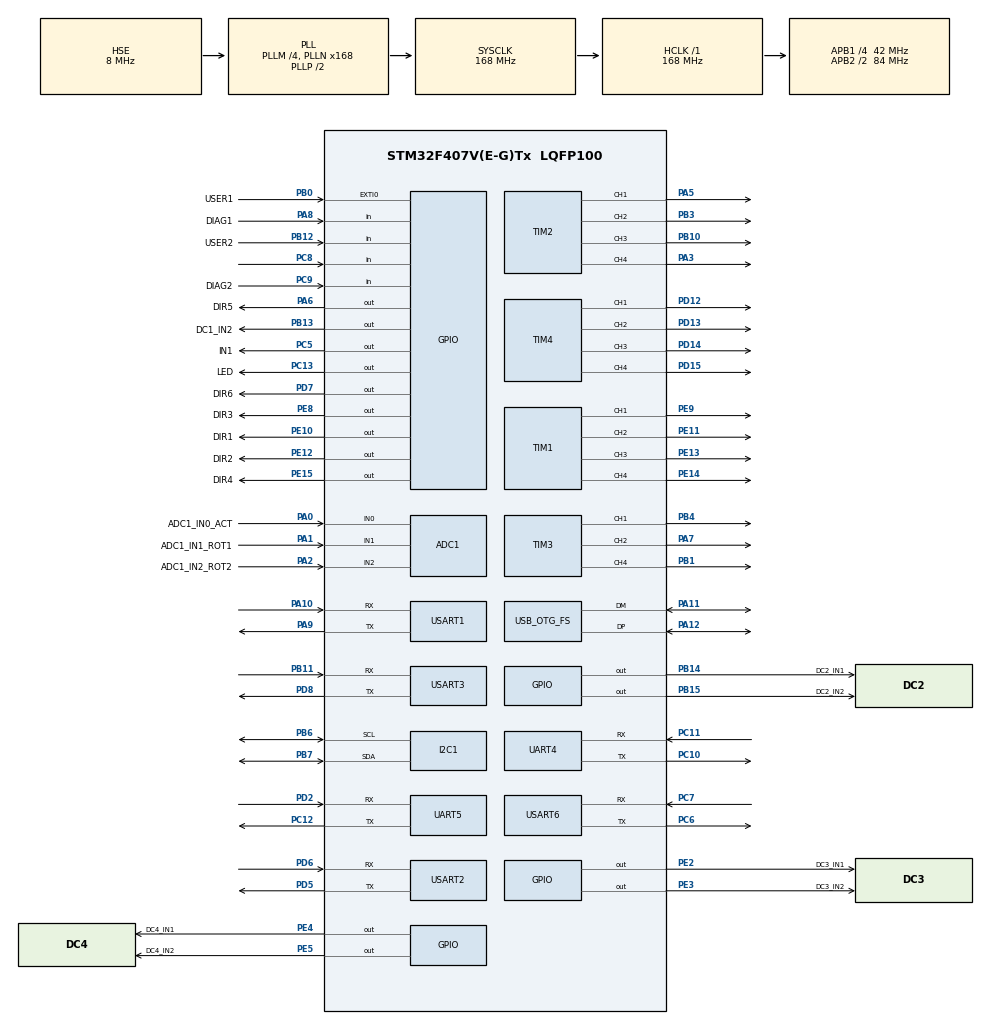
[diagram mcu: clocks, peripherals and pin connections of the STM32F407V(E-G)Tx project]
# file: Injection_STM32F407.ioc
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ADC1.Channel-0\#ChannelRegularConversion=ADC_CHANNEL_0
ADC1.NbrOfConversionFlag=1
ADC1.Rank-0\#ChannelRegularConversion=1
ADC1.SamplingTime-0\#ChannelRegularConversion=ADC_SAMPLETIME_3CYCLES
ADC1.master=1
Mcu.Family=STM32F4
Mcu.Name=STM32F407V(E-G)Tx
Mcu.Package=LQFP100
NVIC.EXTI0_IRQn=true\:0\:0\:false\:false\:true\:true\:true\:true
NVIC.PriorityGroup=NVIC_PRIORITYGROUP_4
NVIC.UART4_IRQn=true\:0\:0\:false\:false\:true\:true\:true\:true
NVIC.UART5_IRQn=true\:0\:0\:false\:false\:true\:true\:true\:true
NVIC.USART1_IRQn=true\:0\:0\:false\:false\:true\:true\:true\:true
NVIC.USART2_IRQn=true\:0\:0\:false\:false\:true\:true\:true\:true
NVIC.USART3_IRQn=true\:0\:0\:false\:false\:true\:true\:true\:true
NVIC.USART6_IRQn=true\:0\:0\:false\:false\:true\:true\:true\:true
PA0-WKUP.GPIO_Label=ADC1_IN0_ACT
PA0-WKUP.Signal=ADCx_IN0
PA1.GPIO_Label=ADC1_IN1_ROT1
PA1.Signal=ADCx_IN1
PA10.Mode=Asynchronous
PA10.Signal=USART1_RX
PA11.Mode=Device_Only
PA11.Signal=USB_OTG_FS_DM
PA12.Mode=Device_Only
PA12.Signal=USB_OTG_FS_DP
PA13.Mode=Serial_Wire
PA13.Signal=SYS_JTMS-SWDIO
PA14.Mode=Serial_Wire
PA14.Signal=SYS_JTCK-SWCLK
PA2.GPIO_Label=ADC1_IN2_ROT2
PA2.Signal=ADCx_IN2
PA3.Signal=S_TIM2_CH4
PA5.Signal=S_TIM2_CH1_ETR
PA6.GPIO_Label=DIR5
PA6.Signal=GPIO_Output
PA7.Signal=S_TIM3_CH2
PA8.GPIO_Label=DIAG1
PA8.Signal=GPIO_Input
PA9.Mode=Asynchronous
PA9.Signal=USART1_TX
PB0.GPIO_Label=USER1
PB0.GPIO_ModeDefaultEXTI=GPIO_MODE_IT_FALLING
PB0.GPIO_PuPd=GPIO_PULLUP
PB0.Signal=GPXTI0
PB1.Signal=S_TIM3_CH4
PB10.Signal=S_TIM2_CH3
PB11.Mode=Asynchronous
PB11.Signal=USART3_RX
PB12.GPIO_Label=USER2
PB12.GPIO_PuPd=GPIO_PULLUP
PB12.Signal=GPIO_Input
PB13.GPIO_Label=DC1_IN2
PB13.Signal=GPIO_Output
PB14.GPIO_Label=DC2_IN1
PB14.Signal=GPIO_Output
PB15.GPIO_Label=DC2_IN2
PB15.Signal=GPIO_Output
PB3.Signal=S_TIM2_CH2
PB4.Signal=S_TIM3_CH1
PB6.Mode=I2C
PB6.Signal=I2C1_SCL
PB7.Mode=I2C
PB7.Signal=I2C1_SDA
PC10.Mode=Asynchronous
PC10.Signal=UART4_TX
PC11.Mode=Asynchronous
PC11.Signal=UART4_RX
PC12.Mode=Asynchronous
PC12.Signal=UART5_TX
PC13-ANTI_TAMP.GPIO_Label=LED
PC13-ANTI_TAMP.Signal=GPIO_Output
PC5.GPIO_Label=IN1
PC5.Signal=GPIO_Output
PC6.Mode=Asynchronous
PC6.Signal=USART6_TX
PC7.Mode=Asynchronous
PC7.Signal=USART6_RX
PC8.Signal=GPIO_Input
PC9.GPIO_Label=DIAG2
PC9.Signal=GPIO_Input
PD12.Signal=S_TIM4_CH1
PD13.Signal=S_TIM4_CH2
PD14.Signal=S_TIM4_CH3
PD15.Signal=S_TIM4_CH4
PD2.Mode=Asynchronous
PD2.Signal=UART5_RX
PD5.Mode=Asynchronous
PD5.Signal=USART2_TX
PD6.Mode=Asynchronous
PD6.Signal=USART2_RX
PD7.GPIO_Label=DIR6
PD7.Signal=GPIO_Output
PD8.Mode=Asynchronous
PD8.Signal=USART3_TX
PE10.GPIO_Label=DIR1
PE10.Signal=GPIO_Output
PE11.Signal=S_TIM1_CH2
PE12.GPIO_Label=DIR2
PE12.Signal=GPIO_Output
PE13.Signal=S_TIM1_CH3
PE14.Signal=S_TIM1_CH4
PE15.GPIO_Label=DIR4
PE15.Signal=GPIO_Output
PE2.GPIO_Label=DC3_IN1
PE2.Signal=GPIO_Output
PE3.GPIO_Label=DC3_IN2
PE3.Signal=GPIO_Output
PE4.GPIO_Label=DC4_IN1
PE4.Signal=GPIO_Output
PE5.GPIO_Label=DC4_IN2
PE5.Signal=GPIO_Output
PE8.GPIO_Label=DIR3
PE8.Signal=GPIO_Output
PE9.Signal=S_TIM1_CH1
PH0-OSC_IN.Mode=HSE-External-Oscillator
PH0-OSC_IN.Signal=RCC_OSC_IN
PH1-OSC_OUT.Mode=HSE-External-Oscillator
PH1-OSC_OUT.Signal=RCC_OSC_OUT
ProjectManager.HeapSize=0x200
ProjectManager.StackSize=0x400
ProjectManager.TargetToolchain=Makefile
RCC.48MHZClocksFreq_Value=48000000
RCC.AHBFreq_Value=168000000
RCC.APB1CLKDivider=RCC_HCLK_DIV4
RCC.APB1Freq_Value=42000000
RCC.APB1TimFreq_Value=84000000
RCC.APB2CLKDivider=RCC_HCLK_DIV2
RCC.APB2Freq_Value=84000000
RCC.APB2TimFreq_Value=168000000
RCC.CortexFreq_Value=168000000
RCC.HCLKFreq_Value=168000000
RCC.HSE_VALUE=8000000
RCC.HSI_VALUE=16000000
RCC.LSE_VALUE=32768
RCC.PLLM=4
RCC.PLLN=168
RCC.PLLQ=7
RCC.SYSCLKFreq_VALUE=168000000
RCC.SYSCLKSource=RCC_SYSCLKSOURCE_PLLCLK
RCC.VCOOutputFreq_Value=336000000
SH.ADCx_IN0.0=ADC1_IN0,IN0
SH.ADCx_IN1.0=ADC1_IN1,IN1
SH.ADCx_IN2.0=ADC1_IN2,IN2
SH.S_TIM1_CH1.0=TIM1_CH1,PWM Generation1 CH1
SH.S_TIM1_CH2.0=TIM1_CH2,PWM Generation2 CH2
SH.S_TIM1_CH3.0=TIM1_CH3,PWM Generation3 CH3
SH.S_TIM1_CH4.0=TIM1_CH4,PWM Generation4 CH4
SH.S_TIM2_CH1_ETR.0=TIM2_CH1,PWM Generation1 CH1
SH.S_TIM2_CH2.0=TIM2_CH2,PWM Generation2 CH2
SH.S_TIM2_CH3.0=TIM2_CH3,PWM Generation3 CH3
SH.S_TIM2_CH4.0=TIM2_CH4,PWM Generation4 CH4
SH.S_TIM3_CH1.0=TIM3_CH1,PWM Generation1 CH1
SH.S_TIM3_CH2.0=TIM3_CH2,PWM Generation2 CH2
SH.S_TIM3_CH4.0=TIM3_CH4,PWM Generation4 CH4
SH.S_TIM4_CH1.0=TIM4_CH1,PWM Generation1 CH1
SH.S_TIM4_CH2.0=TIM4_CH2,PWM Generation2 CH2
SH.S_TIM4_CH3.0=TIM4_CH3,PWM Generation3 CH3
SH.S_TIM4_CH4.0=TIM4_CH4,PWM Generation4 CH4
TIM1.Channel-PWM\ Generation1\ CH1=TIM_CHANNEL_1
TIM1.Channel-PWM\ Generation2\ CH2=TIM_CHANNEL_2
TIM1.Channel-PWM\ Generation3\ CH3=TIM_CHANNEL_3
TIM1.Channel-PWM\ Generation4\ CH4=TIM_CHANNEL_4
TIM2.Channel-PWM\ Generation1\ CH1=TIM_CHANNEL_1
TIM2.Channel-PWM\ Generation2\ CH2=TIM_CHANNEL_2
TIM2.Channel-PWM\ Generation3\ CH3=TIM_CHANNEL_3
TIM2.Channel-PWM\ Generation4\ CH4=TIM_CHANNEL_4
TIM3.Channel-PWM\ Generation1\ CH1=TIM_CHANNEL_1
TIM3.Channel-PWM\ Generation2\ CH2=TIM_CHANNEL_2
TIM3.Channel-PWM\ Generation4\ CH4=TIM_CHANNEL_4
TIM4.Channel-PWM\ Generation1\ CH1=TIM_CHANNEL_1
TIM4.Channel-PWM\ Generation2\ CH2=TIM_CHANNEL_2
TIM4.Channel-PWM\ Generation3\ CH3=TIM_CHANNEL_3
TIM4.Channel-PWM\ Generation4\ CH4=TIM_CHANNEL_4
UART4.VirtualMode=Asynchronous
UART5.VirtualMode=Asynchronous
USART1.VirtualMode=VM_ASYNC
USART2.VirtualMode=VM_ASYNC
USART3.VirtualMode=VM_ASYNC
USART6.VirtualMode=VM_ASYNC
USB_OTG_FS.VirtualMode=Device_Only
VP_TIM1_VS_ClockSourceINT.Mode=Internal
VP_TIM2_VS_ClockSourceINT.Mode=Internal
VP_TIM4_VS_ClockSourceINT.Mode=Internal
board=custom

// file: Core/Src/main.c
/* USER CODE BEGIN Header */
/**
  ******************************************************************************
  * @file           : main.c
  * @brief          : Main program body
  ******************************************************************************
  * @attention
  *
  * Copyright (c) 2024 STMicroelectronics.
  * All rights reserved.
  *
  * This software is licensed under terms that can be found in the LICENSE file
  * in the root directory of this software component.
  * If no LICENSE file comes with this software, it is provided AS-IS.
  *
  ******************************************************************************
  */
/* USER CODE END Header */
#include "main.h"
#include "adc.h"
#include "i2c.h"
#include "tim.h"
#include "usart.h"
#include "usb_otg.h"
#include "gpio.h"

/* USER CODE BEGIN Includes */
#include <stdio.h>
#include <stdlib.h>
#include <string.h>
/* USER CODE END Includes */

/* USER CODE BEGIN PD */

#define JOINT1_HOME 0
#define JOINT2_HOME 80
#define JOINT3_HOME 10
#define JOINT4_HOME 0
#define JOINT5_HOME 40
#define ACTUATOR_HOME 0
#define INJECT 1
#define STOP 0
#define RETRACT 2

#define MAIN_UART &huart1
#define MAIN_UART_INSTANCE USART1
#define JOINT1_UART &huart6
#define JOINT1_UART_INSTANCE USART6
#define JOINT2_UART &huart2
#define JOINT2_UART_INSTANCE USART2
#define JOINT3_UART &huart3
#define JOINT3_UART_INSTANCE USART3
#define JOINT4_UART &huart4
#define JOINT4_UART_INSTANCE UART4
#define JOINT5_UART &huart5
#define JOINT5_UART_INSTANCE UART5

/* USER CODE END PD */

/* USER CODE BEGIN PM */
#define DEBUG

#ifdef DEBUG
  #define DEBUG_PRINT(x) Serial.print(x)
  #define DEBUG_PRINTLN(x) Serial.println(x)
  #define DEBUG_DELAY(x) delay(x)
#else
  #define DEBUG_PRINT(x)
  #define DEBUG_PRINTLN(x)
  #define DEBUG_DELAY(x)
#endif

/* USER CODE END PM */

/* USER CODE BEGIN PV */
#define UART_BUFFER_SIZE 256
volatile uint8_t rx_byte;                         // Main UART
volatile uint8_t rx_byte1;                        // Joint 1
volatile uint8_t rx_byte2;                        // Joint 2
volatile uint8_t rx_byte3;                        // Joint 3
volatile uint8_t rx_byte4;                        // Joint 4
volatile uint8_t rx_byte5;                        // Joint 5

volatile uint8_t uart_buffer[UART_BUFFER_SIZE];  // Circular buffer
volatile uint16_t buffer_index = 0;     // Index for storing data

volatile uint8_t uart_received = 0; // Flag to indicate a new message is available
volatile char received_string[UART_BUFFER_SIZE]; // Store the received string
volatile char previous_string[UART_BUFFER_SIZE]; // Store the received string

int joint1 = JOINT1_HOME;
int joint2 = JOINT2_HOME;
int joint3 = JOINT3_HOME;
int joint4 = JOINT4_HOME;
int joint5 = JOINT5_HOME;
int actuator = ACTUATOR_HOME;
int ledFlag = 0;
int injectFlag = RETRACT;
volatile uint8_t buttonState = 0; // Global variable to track the button state
volatile uint8_t footPedalFlag = 0;   // Global footpedal flag
volatile uint8_t footPedalMode = 0; // Global variable to track the foot pedal state

int injectionLimit = 2600;
int retractionLimit = 4050;

int prev_joint1, prev_joint2, prev_joint3, prev_joint4, prev_joint5, prev_actuator;

uint32_t buttonPressTime = 0;
int buttonHeld = 0;

/* USER CODE END PV */

void SystemClock_Config(void);
/* USER CODE BEGIN PFP */
#define PUTCHAR_PROTOTYPE int __io_putchar(int ch)

#define PUTCHAR_PROTOTYPE_USART2 int __io_putchar_usart2(int ch)
#define printf_joint2(...) do { \
    char buffer[256]; \
    int len = snprintf(buffer, sizeof(buffer), __VA_ARGS__); \
    for (int i = 0; i < len; i++) { \
        __io_putchar_usart2(buffer[i]); \
    } \
} while (0)

#define PUTCHAR_PROTOTYPE_USART3 int __io_putchar_usart3(int ch)
#define printf_joint3(...) do { \
    char buffer[256]; \
    int len = snprintf(buffer, sizeof(buffer), __VA_ARGS__); \
    for (int i = 0; i < len; i++) { \
        __io_putchar_usart3(buffer[i]); \
    } \
} while (0)

#define PUTCHAR_PROTOTYPE_UART4 int __io_putchar_uart4(int ch)
#define printf_joint4(...) do { \
    char buffer[256]; \
    int len = snprintf(buffer, sizeof(buffer), __VA_ARGS__); \
    for (int i = 0; i < len; i++) { \
        __io_putchar_uart4(buffer[i]); \
    } \
} while (0)

#define PUTCHAR_PROTOTYPE_UART5 int __io_putchar_uart5(int ch)
#define printf_joint5(...) do { \
    char buffer[256]; \
    int len = snprintf(buffer, sizeof(buffer), __VA_ARGS__); \
    for (int i = 0; i < len; i++) { \
        __io_putchar_uart5(buffer[i]); \
    } \
} while (0)

#define PUTCHAR_PROTOTYPE_USART6 int __io_putchar_usart6(int ch)
#define printf_joint1(...) do { \
    char buffer[256]; \
    int len = snprintf(buffer, sizeof(buffer), __VA_ARGS__); \
    for (int i = 0; i < len; i++) { \
        __io_putchar_usart6(buffer[i]); \
    } \
} while (0)

void Joint1Set(int theta);
void Joint2Set(int theta);
void Joint3Set(int theta);
void Joint4Set(int theta);
void Joint5Set(int theta);
void ActuatorSet(int theta);
int ActuatorStatus();
void homeSet();
uint16_t Read_ADC_PA0();
void inject(int direction, int adc);
void HomeSetUser();

/* USER CODE END PFP */

int main(void)
{

  /* MCU Configuration--------------------------------------------------------*/

  /* Reset of all peripherals, Initializes the Flash interface and the Systick. */
  HAL_Init();

  /* Configure the system clock */
  SystemClock_Config();

  /* Initialize all configured peripherals */
  MX_GPIO_Init();
  MX_ADC1_Init();
  MX_I2C1_Init();
  MX_TIM1_Init();
  MX_TIM2_Init();
  MX_UART4_Init();
  MX_UART5_Init();
  MX_USART1_UART_Init();
  MX_USART2_UART_Init();
  MX_USART3_UART_Init();
  MX_USB_OTG_FS_PCD_Init();
  MX_TIM4_Init();
  MX_TIM3_Init();
  MX_USART6_UART_Init();
  /* USER CODE BEGIN 2 */

  printf("System Initialized\r\n");

  HAL_TIM_PWM_Start(&htim4, TIM_CHANNEL_1); // Start PWM on PD12
  HAL_TIM_PWM_Start(&htim4, TIM_CHANNEL_2); // Start PWM on PD13

  __HAL_TIM_SET_COMPARE(&htim4, TIM_CHANNEL_1, 0);  // 50% duty cycle on PD12
  __HAL_TIM_SET_COMPARE(&htim4, TIM_CHANNEL_2, 0);  // 25% duty cycle on PD13

  uint16_t adcValue = Read_ADC_PA0();

  HAL_UART_Receive_IT(MAIN_UART, &rx_byte, 1); // Start receiving single bytes in interrupt mode
  HAL_UART_Receive_IT(JOINT1_UART, &rx_byte1, 1); // Start receiving single bytes in interrupt mode
  HAL_UART_Receive_IT(JOINT2_UART, &rx_byte2, 1); // Start receiving single bytes in interrupt mode
  HAL_UART_Receive_IT(JOINT3_UART, &rx_byte3, 1); // Start receiving single bytes in interrupt mode
  HAL_UART_Receive_IT(JOINT4_UART, &rx_byte4, 1); // Start receiving single bytes in interrupt mode
  HAL_UART_Receive_IT(JOINT5_UART, &rx_byte5, 1); // Start receiving single bytes in interrupt mode

  HomeSet(); // Set all joints to home position
  /* USER CODE END 2 */

  /* Infinite loop */
  while (1) {

    /* USER CODE BEGIN 3 */
    uint16_t adcValue = Read_ADC_PA0();
    HAL_Delay(1);

    // // Foot pedal or button press logic
    // if(footPedalMode == 1){
    //     if (!HAL_GPIO_ReadPin(USER2_GPIO_Port, USER2_Pin)) {
    //         injectSequence();

    //         if (!buttonHeld) {
    //             buttonHeld = 1;
    //             buttonPressTime = HAL_GetTick(); // Record the press time
    //             injectFlag = RETRACT;
    //             inject(RETRACT, adcValue);
    //         }

    //         if (HAL_GetTick() - buttonPressTime >= 4500) { // Check if held for 1 second
    //             injectFlag = INJECT;
    //             inject(INJECT, adcValue);
    //         }

    //     } else {
    //         buttonHeld = 0;
    //         buttonPressTime = 0; // Reset timer
    //         uint32_t lastMillis = HAL_GetTick(); // Start the delay timer

    //         // Home set logic
    //         joint1 = JOINT1_HOME;
    //         Joint1Set(joint1);

    //         joint2 = JOINT2_HOME;
    //         Joint2Set(joint2);

    //         joint5 = JOINT5_HOME;
    //         Joint5Set(joint5);

    //         injectFlag = RETRACT;  // Set the inject flag
    //         inject(RETRACT, adcValue);  // Retract command

    //         // Wait for 1 second after setting joint2
    //         while (HAL_GetTick() - lastMillis < 1800) {
    //             // Loop here doing nothing but waiting for 1 second.
    //         }

    //         // Set the remaining joints after the delay
    //         joint3 = JOINT3_HOME;
    //         Joint3Set(joint3);
    //         joint4 = JOINT4_HOME;
    //         Joint4Set(joint4);

    //     }

    // }
    // HomeSet();
    // HAL_Delay(5000);
    // injectSequence();
    // HAL_Delay(5000);

    /* USER CODE END 3 */
}
}

void SystemClock_Config(void)
{
  RCC_OscInitTypeDef RCC_OscInitStruct = {0};
  RCC_ClkInitTypeDef RCC_ClkInitStruct = {0};

  /** Configure the main internal regulator output voltage
  */
  __HAL_RCC_PWR_CLK_ENABLE();
  __HAL_PWR_VOLTAGESCALING_CONFIG(PWR_REGULATOR_VOLTAGE_SCALE1);

  /** Initializes the RCC Oscillators according to the specified parameters
  * in the RCC_OscInitTypeDef structure.
  */
  RCC_OscInitStruct.OscillatorType = RCC_OSCILLATORTYPE_HSE;
  RCC_OscInitStruct.HSEState = RCC_HSE_ON;
  RCC_OscInitStruct.PLL.PLLState = RCC_PLL_ON;
  RCC_OscInitStruct.PLL.PLLSource = RCC_PLLSOURCE_HSE;
  RCC_OscInitStruct.PLL.PLLM = 4;
  RCC_OscInitStruct.PLL.PLLN = 168;
  RCC_OscInitStruct.PLL.PLLP = RCC_PLLP_DIV2;
  RCC_OscInitStruct.PLL.PLLQ = 7;
  if (HAL_RCC_OscConfig(&RCC_OscInitStruct) != HAL_OK)
  {
    Error_Handler();
  }

  /** Initializes the CPU, AHB and APB buses clocks
  */
  RCC_ClkInitStruct.ClockType = RCC_CLOCKTYPE_HCLK|RCC_CLOCKTYPE_SYSCLK
                              |RCC_CLOCKTYPE_PCLK1|RCC_CLOCKTYPE_PCLK2;
  RCC_ClkInitStruct.SYSCLKSource = RCC_SYSCLKSOURCE_PLLCLK;
  RCC_ClkInitStruct.AHBCLKDivider = RCC_SYSCLK_DIV1;
  RCC_ClkInitStruct.APB1CLKDivider = RCC_HCLK_DIV4;
  RCC_ClkInitStruct.APB2CLKDivider = RCC_HCLK_DIV2;

  if (HAL_RCC_ClockConfig(&RCC_ClkInitStruct, FLASH_LATENCY_5) != HAL_OK)
  {
    Error_Handler();
  }
}

/* USER CODE BEGIN 4 */

/**
  * @brief  Retargets the C library printf function to the USART.
  * @retval None
  */
 PUTCHAR_PROTOTYPE
 {
   /* Place your implementation of fputc here */
   /* e.g. write a character to the USART1 and Loop until the end of transmission */
   HAL_UART_Transmit(MAIN_UART, (uint8_t *)&ch, 1, 0xFFFF);

   return ch;
 }

 PUTCHAR_PROTOTYPE_USART2{
    HAL_UART_Transmit(JOINT2_UART, (uint8_t *)&ch, 1, 0xFFFF);

      return ch;
 }

 PUTCHAR_PROTOTYPE_USART3
 {
    /* Place your implementation of fputc here */
    /* e.g. write a character to the USART3 and Loop until the end of transmission */
    HAL_UART_Transmit(JOINT3_UART, (uint8_t *)&ch, 1, 0xFFFF);

    return ch;
 }

 PUTCHAR_PROTOTYPE_UART4
 {
    /* Place your implementation of fputc here */
    /* e.g. write a character to the USART3 and Loop until the end of transmission */
    HAL_UART_Transmit(JOINT4_UART, (uint8_t *)&ch, 1, 0xFFFF);

    return ch;
 }

 PUTCHAR_PROTOTYPE_UART5
 {
    /* Place your implementation of fputc here */
    /* e.g. write a character to the USART3 and Loop until the end of transmission */
    HAL_UART_Transmit(JOINT5_UART, (uint8_t *)&ch, 1, 0xFFFF);

    return ch;
 }

 PUTCHAR_PROTOTYPE_USART6
 {
    /* Place your implementation of fputc here */
    /* e.g. write a character to the USART6 and Loop until the end of transmission */
    HAL_UART_Transmit(JOINT1_UART, (uint8_t *)&ch, 1, 0xFFFF);

    return ch;
 }

 void HAL_UART_RxCpltCallback(UART_HandleTypeDef *huart)
{

    if (huart->Instance == MAIN_UART_INSTANCE) // Correct UART instance

    {
        // Store received byte in buffer
        if (buffer_index < UART_BUFFER_SIZE - 1)
        {
            uart_buffer[buffer_index++] = rx_byte;

            // Check for newline or carriage return
            if (rx_byte == '\n')
            {
                uart_buffer[buffer_index] = '\0'; // Null-terminate the string
                buffer_index = 0;                // Reset the index for the next string

                // Copy received string to the global buffer for main loop access
                strcpy((char *)received_string, (char *)uart_buffer);

                ProcessReceivedString(received_string);

            }
        }
        else
        {
            // Buffer overflow, reset index
            buffer_index = 0;
            printf("Buffer overflow\r\n");
        }

        // Restart UART reception for the next byte
        HAL_UART_Receive_IT(MAIN_UART, &rx_byte, 1);
    }

    else if(huart -> Instance == JOINT1_UART_INSTANCE){
        // Store received byte in buffer
        if (buffer_index < UART_BUFFER_SIZE - 1)
        {
            uart_buffer[buffer_index++] = rx_byte1;

            // Check for newline or carriage return
            if (rx_byte1 == '\n')
            {
                uart_buffer[buffer_index] = '\0'; // Null-terminate the string
                buffer_index = 0;                // Reset the index for the next string

                // Copy received string to the global buffer for main loop access
                strcpy((char *)received_string, (char *)uart_buffer);

                if(strcmp("print", (char* )received_string)){
                  ProcessReceivedString((char *)received_string);
                  strcpy((char *)previous_string, (char *)received_string);
                }
                else if(strcmp((char *)received_string, (char *)previous_string)){
                  ProcessReceivedString((char *)received_string);
                  strcpy((char *)previous_string, (char *)received_string);
                }

            }
        }
        else
        {
            // Buffer overflow, reset index
            buffer_index = 0;
            printf("Buffer overflow\r\n");
        }

        // Restart UART reception for the next byte
        HAL_UART_Receive_IT(JOINT1_UART, &rx_byte1, 1);
    }

    else if(huart -> Instance == JOINT2_UART_INSTANCE){
        // Store received byte in buffer
        if (buffer_index < UART_BUFFER_SIZE - 1)
        {
            uart_buffer[buffer_index++] = rx_byte2;

            // Check for newline or carriage return
            if (rx_byte2 == '\n')
            {
                uart_buffer[buffer_index] = '\0'; // Null-terminate the string
                buffer_index = 0;                // Reset the index for the next string

                // Copy received string to the global buffer for main loop access
                strcpy((char *)received_string, (char *)uart_buffer);

                if(strcmp("print", (char* )received_string)){
                  ProcessReceivedString((char *)received_string);
                  strcpy((char *)previous_string, (char *)received_string);
                }
                else if(strcmp((char *)received_string, (char *)previous_string)){
                  ProcessReceivedString((char *)received_string);
                  strcpy((char *)previous_string, (char *)received_string);
                }

            }
        }
        else
        {
            // Buffer overflow
            buffer_index = 0;
            printf("Buffer overflow\r\n");
        }
        HAL_UART_Receive_IT(JOINT2_UART, &rx_byte2, 1);

      }

      else if(huart -> Instance == JOINT3_UART_INSTANCE){
        // Store received byte in buffer
        if (buffer_index < UART_BUFFER_SIZE - 1)
        {
            uart_buffer[buffer_index++] = rx_byte3;

            // Check for newline or carriage return
            if (rx_byte3 == '\n')
            {
                uart_buffer[buffer_index] = '\0'; // Null-terminate the string
                buffer_index = 0;                // Reset the index for the next string

                // Copy received string to the global buffer for main loop access
                strcpy((char *)received_string, (char *)uart_buffer);

                if(strcmp("print", (char* )received_string)){
                  ProcessReceivedString((char *)received_string);
                  strcpy((char *)previous_string, (char *)received_string);
                }
                else if(strcmp((char *)received_string, (char *)previous_string)){
                  ProcessReceivedString((char *)received_string);
                  strcpy((char *)previous_string, (char *)received_string);
                }

            }
        }
        else
        {
            // Buffer overflow
            buffer_index = 0;
            printf("Buffer overflow\r\n");
        }
        HAL_UART_Receive_IT(JOINT3_UART, &rx_byte3, 1);

      }

      else if(huart -> Instance == JOINT4_UART_INSTANCE){
        // Store received byte in buffer
        if (buffer_index < UART_BUFFER_SIZE - 1)
        {
            uart_buffer[buffer_index++] = rx_byte4;

            // Check for newline or carriage return
            if (rx_byte4 == '\n')
            {
                uart_buffer[buffer_index] = '\0'; // Null-terminate the string
                buffer_index = 0;                // Reset the index for the next string

                // Copy received string to the global buffer for main loop access
                strcpy((char *)received_string, (char *)uart_buffer);

                if(strcmp("print", (char* )received_string)){
                  ProcessReceivedString((char *)received_string);
                  strcpy((char *)previous_string, (char *)received_string);
                }
                else if(strcmp((char *)received_string, (char *)previous_string)){
                  ProcessReceivedString((char *)received_string);
                  strcpy((char *)previous_string, (char *)received_string);
                }

            }
        }
        else
        {
            // Buffer overflow
            buffer_index = 0;
            printf("Buffer overflow\r\n");
        }
        HAL_UART_Receive_IT(JOINT4_UART, &rx_byte4, 1);

      }

      else if(huart -> Instance == JOINT5_UART_INSTANCE){
        // Store received byte in buffer
        if (buffer_index < UART_BUFFER_SIZE - 1)
        {
            uart_buffer[buffer_index++] = rx_byte5;

            // Check for newline or carriage return
            if (rx_byte5 == '\n')
            {
                uart_buffer[buffer_index] = '\0'; // Null-terminate the string
                buffer_index = 0;                // Reset the index for the next string

                // Copy received string to the global buffer for main loop access
                strcpy((char *)received_string, (char *)uart_buffer);

                if(strcmp("print", (char* )received_string)){
                  ProcessReceivedString((char *)received_string);
                  strcpy((char *)previous_string, (char *)received_string);
                }
                else if(strcmp((char *)received_string, (char *)previous_string)){
                  ProcessReceivedString((char *)received_string);
                  strcpy((char *)previous_string, (char *)received_string);
                }

            }
        }
        else
        {
            // Buffer overflow
            buffer_index = 0;
            printf("Buffer overflow\r\n");
        }
        HAL_UART_Receive_IT(JOINT5_UART, &rx_byte5, 1);

      }

}

// Function to process the received string
void ProcessReceivedString(char *str)
{
    // Check if the string starts with "set"
    if (strncmp(str, "set", 3) == 0)
    {
        // Move the pointer to after "set" and the space
        str += 4;  // Skip "set " (4 characters)

        // Now we expect a format like "000-000-000-000-000-000"
        if (sscanf(str, "%3d-%3d-%3d-%3d-%3d-%3d", &joint1, &joint2, &joint3, &joint4, &joint5, &actuator) == 6)
        {
            // Successfully parsed the 6 numbers
            printf("Received numbers: %d %d %d %d %d %d\r\n", joint1, joint2, joint3, joint4, joint5, actuator);

            // Check for changes in each joint and send new values if changed
            if (joint1 != prev_joint1) {
                // send to joint
                prev_joint1 = joint1;
                Joint1Set(joint1);
            }
            if (joint2 != prev_joint2) {
                // send to joint
                prev_joint2 = joint2;
                Joint2Set(joint2);
            }
            if (joint3 != prev_joint3) {
                // send to joint
                prev_joint3 = joint3;
                Joint3Set(joint3);
            }
            if (joint4 != prev_joint4) {
                // send to joint
                prev_joint4 = joint4;
            }
            if (joint5 != prev_joint5) {
                // send to joint
                prev_joint5 = joint5;
            }
            if (actuator != prev_actuator) {
                // send to actuator
                prev_actuator = actuator;
            }
        }
        else
        {
            printf("Invalid format!\r\n");
        }
    }
    // Just setting joint1
    else if (strncmp(str, "joint1", 6) == 0)
    {
        str += 7;

        if (sscanf(str, "%3d", &joint1) == 1)
        {
            // Successfully parsed joint1
            printf("Joint1 set: %d\r\n", joint1);

            //if (joint1 != prev_joint1) {
                Joint1Set(joint1);
                prev_joint1 = joint1;
            //}
        }
        else
        {
            printf("Invalid format!\r\n");
        }
    }

    // Just setting joint2
    else if (strncmp(str, "joint2", 6) == 0)
    {
        str += 7;

        if (sscanf(str, "%3d", &joint2) == 1)
        {
            // Successfully parsed joint2
            printf("Joint2 set: %d\r\n", joint2);

            //if (joint2 != prev_joint2) {
                Joint2Set(joint2);
                prev_joint2 = joint2;
            //}
        }
        else
        {
            printf("Invalid format!\r\n");
        }
    }

    // Just setting joint3
    else if (strncmp(str, "joint3", 6) == 0)
    {
        str += 7;

        if (sscanf(str, "%3d", &joint3) == 1)
        {
            // Successfully parsed joint3
            printf("Joint3 set: %d\r\n", joint3);

            //if (joint3 != prev_joint3) {
                Joint3Set(joint3);
                prev_joint3 = joint3;
            //}
        }
        else
        {
            printf("Invalid format!\r\n");
        }
    }

    // Just setting joint4
    else if (strncmp(str, "joint4", 6) == 0)
    {
        str += 7;

        if (sscanf(str, "%3d", &joint4) == 1)
        {
            // Successfully parsed joint4
            printf("Joint4 set: %d\r\n", joint4);

            //if (joint4 != prev_joint4) {
                Joint4Set(joint4);
                prev_joint4 = joint4;
            //}
        }
        else
        {
            printf("Invalid format!\r\n");
        }
    }

    // Just setting joint5
    else if (strncmp(str, "joint5", 6) == 0)
    {
        str += 7;

        if (sscanf(str, "%3d", &joint5) == 1)
        {
            // Successfully parsed joint5
            printf("Joint5 set: %d\r\n", joint5);

            //if (joint5 != prev_joint5) {
                Joint5Set(joint5);
                prev_joint5 = joint5;
            //}
        }
        else
        {
            printf("Invalid format!\r\n");
        }
    }

    // Just setting actuator
    else if (strncmp(str, "actuator", 8) == 0)
    {
        str += 9;

        if (sscanf(str, "%3d", &actuator) == 1)
        {
            // Successfully parsed joint5
            printf("Actuator set: %d\r\n", actuator);

            //if (actuator != actuator) {
                ActuatorSet(actuator);
                prev_actuator = actuator;
            //}
        }
        else
        {
            printf("Invalid format!\r\n");
        }
    }

    else if (strncmp(str, "j1read", 6) == 0)
    {
        printf_joint1("r\r\n");
    }

    else if (strncmp(str, "j2read", 6) == 0)
    {
        printf_joint2("r\r\n");
    }

    else if (strncmp(str, "j3read", 6) == 0)
    {
        printf_joint3("r\r\n");
    }

      else if (strncmp(str, "j4read", 6) == 0)
      {
          printf_joint4("r\r\n");
      }

      else if (strncmp(str, "j5read", 6) == 0)
      {
          printf_joint5("r\r\n");
      }

      else if (strncmp(str, "aread", 5) == 0)
      {
          // Print acutator position or status
      }

    // Set Home
    else if (strncmp(str, "home", 4) == 0)
    {
        str += 5;

        HomeSet();

        printf("Set all joints home\r\n");

    }

    else if (strncmp(str, "flash", 5) == 0)
    {
        str += 6;
        ledFlag = !ledFlag;

        printf("LEDs Toggled\r\n");

    }

    // Prints all joints
    else if (strncmp(str, "print", 5) == 0)
    {
       printf("Joint1: %d\r\n", joint1);
       printf("Joint2: %d\r\n", joint2);
       printf("Joint3: %d\r\n", joint3);
       printf("Joint4: %d\r\n", joint4);
       printf("Joint5: %d\r\n", joint5);
       printf("Actuator: %d\r\n", actuator);
    }

    else if (strncmp(str, "inject", 6)== 0)
    {
        injectFlag = INJECT;
        printf("injecting...\r\n");
    }

    else if (strncmp(str, "retract", 7)== 0)
    {
        injectFlag = RETRACT;
        printf("retracting...\r\n");
    }

    else if (strncmp(str, "stop", 4) == 0)
    {
        injectFlag = STOP;
        printf("stopped.\r\n");
    }
    else if (strncmp(str, "sequence", 8) == 0)
    {
        printf("inject sequence...\r\n");
        injectSequence();

    }
    else if (strncmp(str, "foot on", 9) == 0)
    {
        printf("Foot Pedal Mode on!\r\n");
        footPedalMode = 1;

    }
    else if (strncmp(str, "foot off", 9) == 0)
    {
        printf("Foot Pedal Mode off!\r\n");
        footPedalMode = 0;
    }

    // Echoes string if no keywords are sent
    else
    {
        printf("Received: %s\r\n", str);
    }
}

void ProcessReceivedJoint(char *str){

}
void HomeSet(){
  //Set all joints to home
  joint1 = JOINT1_HOME;
  Joint1Set(joint1);
  joint2 = JOINT2_HOME;
  Joint2Set(joint2);
  joint3 = JOINT3_HOME;
  Joint3Set(joint3);
  joint4 = JOINT4_HOME;
  Joint4Set(joint4);
  joint5 = JOINT5_HOME;
  Joint5Set(joint5);
  injectFlag = RETRACT;

}
void HomeSetUser() {
  static uint32_t lastMillis = 0;
  static uint8_t step = 0;  // To track which part of the process we are at.

  if (step == 0) {
      // Set Joint 1
      joint1 = JOINT1_HOME;
      Joint1Set(joint1);
      step = 1;  // Move to the next step
  } else if (step == 1) {
      // Set Joint 2 and start a delay
      joint2 = JOINT2_HOME;
      Joint2Set(joint2);
      joint5 = JOINT5_HOME;
      Joint5Set(joint5);
      lastMillis = HAL_GetTick();  // Start the 1-second delay
      step = 2;  // Move to the next step
  } else if (step == 2) {
      // Wait for 1 second before proceeding
      if (HAL_GetTick() - lastMillis >= 1000) {
          // Once 1 second has passed, set the remaining joints
          joint3 = JOINT3_HOME;
          Joint3Set(joint3);
          joint4 = JOINT4_HOME;
          Joint4Set(joint4);

          injectFlag = RETRACT;  // Set the inject flag

          step = 0;  // Reset for the next time HomeSetUser() is called
      }
  }
}

void Joint1Set(int theta){
  printf_joint1("%d\r\n", theta);

}

void Joint2Set(int theta){
  printf_joint2("%d\n", theta);

}

void Joint3Set(int theta){
  printf_joint3("%d\r\n", theta);

}

void Joint4Set(int theta){
  printf_joint4("%d\r\n", theta);

}

void Joint5Set(int theta){
  printf_joint5("%d\r\n", theta);

}

void ActuatorSet(int theta){
  // Set joint. This is connected to the actuator motor controller.
  // Make an actuator status function

}

int ActuatorStatus(){
  // Get actuator status
  return 0;
}

uint16_t Read_ADC_PA0() {
  uint16_t adcValue = 0;

  // Start ADC Conversion
  HAL_ADC_Start(&hadc1);

  // Wait for conversion to complete
  if (HAL_ADC_PollForConversion(&hadc1, HAL_MAX_DELAY) == HAL_OK) {
      // Read the ADC value
      adcValue = HAL_ADC_GetValue(&hadc1);
  }

  // Stop ADC (optional)
  HAL_ADC_Stop(&hadc1);

  return adcValue;
}

void injectSequence(){
  Joint5Set(18);
  //HAL_Delay(500);
  Joint4Set(90);
  //HAL_Delay(500);
  Joint3Set(45);
  //HAL_Delay(500);
  Joint2Set(6);
}

void inject(int direction, int adc) {
  if (direction == INJECT) {
      if (adc > injectionLimit) {
          __HAL_TIM_SET_COMPARE(&htim4, TIM_CHANNEL_1, 0);       // 0% duty cycle
          __HAL_TIM_SET_COMPARE(&htim4, TIM_CHANNEL_2, 16384);   // 25% duty cycle
      } else {
          __HAL_TIM_SET_COMPARE(&htim4, TIM_CHANNEL_1, 0);
          __HAL_TIM_SET_COMPARE(&htim4, TIM_CHANNEL_2, 0);
          injectFlag = STOP;
      }
  } else if (direction == RETRACT) {
      if (adc < retractionLimit) {
          __HAL_TIM_SET_COMPARE(&htim4, TIM_CHANNEL_1, 16384);   // 25% duty cycle
          __HAL_TIM_SET_COMPARE(&htim4, TIM_CHANNEL_2, 0);       // 0% duty cycle
      } else {
          __HAL_TIM_SET_COMPARE(&htim4, TIM_CHANNEL_1, 0);
          __HAL_TIM_SET_COMPARE(&htim4, TIM_CHANNEL_2, 0);
          injectFlag = STOP;
      }
  } else if (direction == STOP) {
      __HAL_TIM_SET_COMPARE(&htim4, TIM_CHANNEL_1, 0);
      __HAL_TIM_SET_COMPARE(&htim4, TIM_CHANNEL_2, 0);
  }
}

/* USER CODE END 4 */

void Error_Handler(void)
{
  __disable_irq();
  while (1)
  {
  }
}
